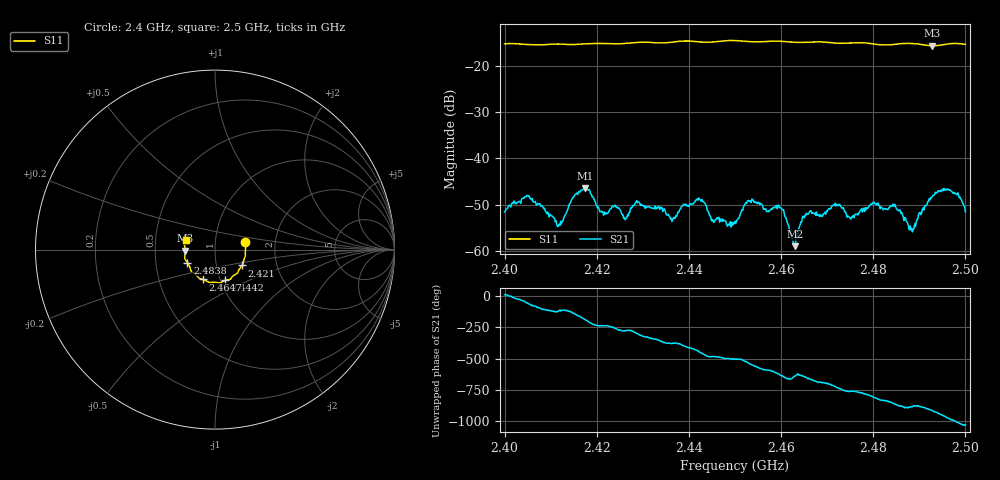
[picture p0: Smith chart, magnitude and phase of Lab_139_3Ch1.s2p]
# Hz S RI R 50
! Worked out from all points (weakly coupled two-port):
!   601 points, 2.4 GHz to 2.5 GHz, reference 50 ohm
!   highest |S21| = -46.40 dB at 2.4175 GHz (marker M1); lowest = -59.0 dB at 2.463 GHz (marker M2)
!   lowest |S11| = -15.6 dB at 2.4928 GHz (marker M3), VSWR 1.40, Z = 35.8 - j0.37 ohm
!   |S11| at or under -10 dB: start of sweep to end of sweep
!   S12 and S22 are empty: the file has one direction only
!   S11 on the Smith chart (normalised r, x): 2.4 GHz: 1.40, +0.12; 2.421 GHz: 1.33, -0.24; 2.4442 GHz: 1.05, -0.37; 2.4647 GHz: 0.83, -0.29; 2.4838 GHz: 0.73, -0.11; 2.5 GHz: 0.72, +0.08
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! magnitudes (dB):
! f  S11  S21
! 2.4 GHz  -15.2  -51.6
! 2.4048 GHz  -15.4  -48.0
! 2.4118 GHz  -15.3  -54.2
! 2.4167 GHz  -15.3  -46.9
! 2.4175 GHz  -15.2  -46.4
! 2.421 GHz  -15.1  -51.4
! 2.4333 GHz  -15.0  -50.4
! 2.4365 GHz  -14.8  -53.1
! 2.442 GHz  -14.8  -49.0
! 2.4442 GHz  -14.9  -51.4
! 2.45 GHz  -14.5  -53.6
! 2.4532 GHz  -14.7  -49.2
! 2.4593 GHz  -14.6  -50.2
! 2.463 GHz  -14.9  -59.0
! 2.4647 GHz  -14.9  -52.5
! 2.4667 GHz  -14.8  -51.9
! 2.4833 GHz  -15.5  -50.8
! 2.4838 GHz  -15.4  -50.1
! 2.4883 GHz  -15.1  -55.1
! 2.4928 GHz  -15.6  -48.1
! 2.4965 GHz  -15.2  -46.9
! 2.5 GHz  -15.3  -51.6
